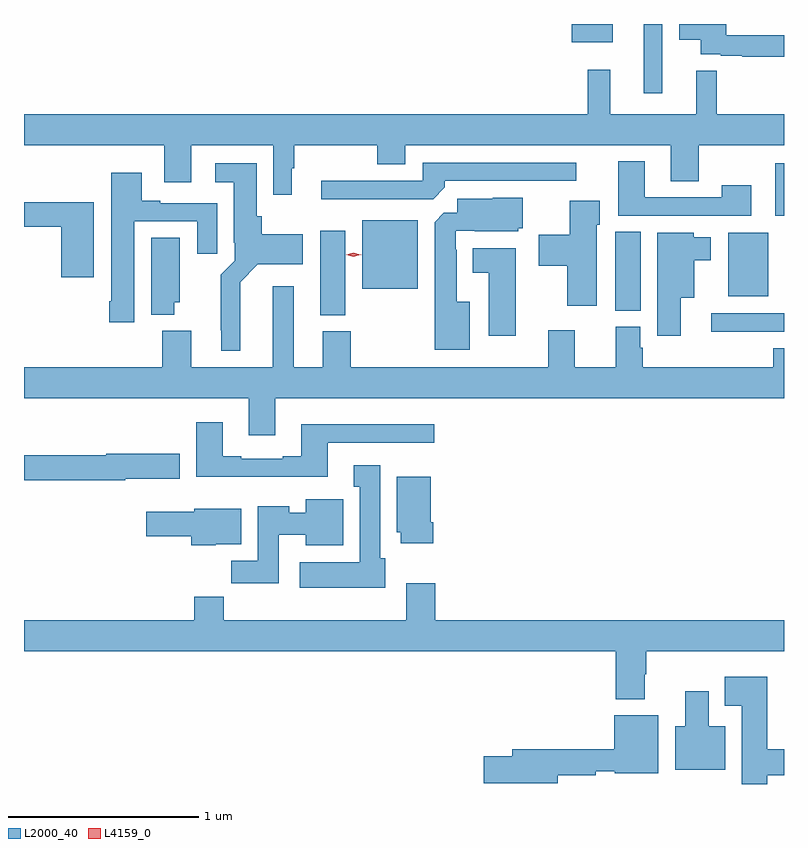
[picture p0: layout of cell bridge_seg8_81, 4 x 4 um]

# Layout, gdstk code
import gdstk
lib = gdstk.Library(unit=1e-6, precision=1e-09)
def R(c, l, rs):  # rectangles x0, y0, x1, y1
    for r in rs: c.add(gdstk.rectangle(r[:2], r[2:], *l))
def P(c, l, *ps):  # polygons
    for p in ps: c.add(gdstk.Polygon(p, *l))
L2000_40 = (2000, 40)
L4159_0 = (4159, 0)

bridge_seg8_81 = lib.new_cell('bridge_seg8_81')
R(bridge_seg8_81, L2000_40, [(700.887,1156.811,701.27,1156.908), (698.828,1156.897,698.962,1157.341), (700.382,1156.921,700.516,1157.336), (700.976,1156.997,701.188,1157.332), (699.05,1157.036,699.343,1157.398), (701.225,1157.42,701.27,1157.698), (700.532,1158.066,700.629,1158.43), (700.154,1158.335,700.369,1158.43)])
P(bridge_seg8_81, L2000_40, [(701.27,1158.371),(700.967,1158.371),(700.967,1158.43),(700.718,1158.43),(700.718,1158.347),(700.832,1158.347),(700.832,1158.27),(700.936,1158.27),(700.936,1158.264),(701.05,1158.264),(701.05,1158.258),(701.27,1158.258)],
  [(698.68,1157.67),(698.692,1157.67),(698.692,1157.792),(699.13,1157.792),(699.13,1157.693),(699.277,1157.693),(699.277,1157.792),(700.673,1157.792),(700.673,1157.602),(700.821,1157.602),(700.821,1157.792),(701.27,1157.792),(701.27,1157.956),(700.916,1157.956),(700.916,1158.185),(700.808,1158.185),(700.808,1157.956),(700.355,1157.956),(700.355,1158.19),(700.237,1158.19),(700.237,1157.956),(697.27,1157.956),(697.27,1157.792),(698.009,1157.792),(698.009,1157.598),(698.149,1157.598),(698.149,1157.792),(698.583,1157.792),(698.583,1157.532),(698.68,1157.532)],
  [(701.098,1157.581),(700.942,1157.581),(700.942,1157.517),(700.537,1157.517),(700.537,1157.707),(700.397,1157.707),(700.397,1157.421),(701.098,1157.421)],
  [(699.485,1157.57),(699.485,1157.604),(700.177,1157.604),(700.177,1157.7),(699.369,1157.7),(699.369,1157.604),(698.835,1157.604),(698.835,1157.508),(699.423,1157.508)],
  [(698.407,1157.072),(698.499,1157.165),(698.737,1157.165),(698.737,1157.323),(698.52,1157.323),(698.52,1157.418),(698.494,1157.418),(698.494,1157.698),(698.277,1157.698),(698.277,1157.597),(698.375,1157.597),(698.375,1157.278),(698.379,1157.278),(698.379,1157.184),(698.305,1157.11),(698.305,1156.819),(698.309,1156.819),(698.309,1156.709),(698.407,1156.709)],
  [(697.849,1157.391),(698.183,1157.391),(698.183,1157.22),(698.287,1157.22),(698.287,1157.487),(697.987,1157.487),(697.987,1157.5),(697.891,1157.5),(697.891,1157.647),(697.73,1157.647),(697.73,1156.972),(697.718,1156.972),(697.718,1156.86),(697.849,1156.86)],
  [(699.616,1156.969),(699.547,1156.969),(699.547,1157.243),(699.543,1157.243),(699.543,1157.343),(699.643,1157.343),(699.643,1157.339),(699.87,1157.339),(699.87,1157.355),(699.895,1157.355),(699.895,1157.515),(699.738,1157.515),(699.738,1157.509),(699.551,1157.509),(699.551,1157.436),(699.48,1157.436),(699.431,1157.387),(699.431,1156.715),(699.616,1156.715)],
  [(700.285,1157.373),(700.3,1157.373),(700.3,1157.5),(700.142,1157.5),(700.142,1157.32),(699.978,1157.32),(699.978,1157.158),(700.13,1157.158),(700.13,1156.947),(700.285,1156.947)],
  [(697.636,1157.491),(697.27,1157.491),(697.27,1157.362),(697.466,1157.362),(697.466,1157.097),(697.636,1157.097)],
  [(700.726,1156.988),(700.798,1156.988),(700.798,1157.186),(700.885,1157.186),(700.885,1157.308),(700.794,1157.308),(700.794,1157.332),(700.604,1157.332),(700.604,1156.788),(700.726,1156.788)],
  [(698.062,1156.965),(698.089,1156.965),(698.089,1157.306),(697.94,1157.306),(697.94,1156.901),(698.062,1156.901)],
  [(699.859,1157.251),(699.632,1157.251),(699.632,1157.12),(699.716,1157.12),(699.716,1156.788),(699.859,1156.788)],
  [(698.593,1156.46),(701.27,1156.46),(701.27,1156.723),(701.213,1156.723),(701.213,1156.624),(700.526,1156.624),(700.526,1156.725),(700.513,1156.725),(700.513,1156.836),(700.385,1156.836),(700.385,1156.624),(700.168,1156.624),(700.168,1156.819),(700.028,1156.819),(700.028,1156.624),(698.991,1156.624),(698.991,1156.812),(698.843,1156.812),(698.843,1156.624),(698.689,1156.624),(698.689,1157.05),(698.579,1157.05),(698.579,1156.624),(698.149,1156.624),(698.149,1156.816),(697.997,1156.816),(697.997,1156.624),(697.27,1156.624),(697.27,1156.46),(698.453,1156.46),(698.453,1156.266),(698.593,1156.266)],
  [(698.869,1156.227),(699.43,1156.227),(699.43,1156.324),(698.729,1156.324),(698.729,1156.156),(698.633,1156.156),(698.633,1156.143),(698.413,1156.143),(698.413,1156.156),(698.317,1156.156),(698.317,1156.333),(698.177,1156.333),(698.177,1156.046),(698.869,1156.046)],
  [(697.804,1156.037),(698.089,1156.037),(698.089,1156.167),(697.704,1156.167),(697.704,1156.159),(697.27,1156.159),(697.27,1156.03),(697.804,1156.03)],
  [(699.172,1155.618),(699.145,1155.618),(699.145,1156.108),(699.005,1156.108),(699.005,1155.995),(699.038,1155.995),(699.038,1155.598),(698.721,1155.598),(698.721,1155.464),(699.172,1155.464)],
  [(699.425,1155.808),(699.412,1155.808),(699.412,1156.048),(699.233,1156.048),(699.233,1155.756),(699.254,1155.756),(699.254,1155.696),(699.425,1155.696)],
  [(698.611,1155.742),(698.753,1155.742),(698.753,1155.686),(698.95,1155.686),(698.95,1155.928),(698.753,1155.928),(698.753,1155.857),(698.665,1155.857),(698.665,1155.892),(698.501,1155.892),(698.501,1155.604),(698.362,1155.604),(698.362,1155.486),(698.611,1155.486)],
  [(698.28,1155.692),(698.413,1155.692),(698.413,1155.88),(698.166,1155.88),(698.166,1155.862),(697.914,1155.862),(697.914,1155.733),(698.15,1155.733),(698.15,1155.686),(698.28,1155.686)],
  [(700.537,1155.008),(700.545,1155.008),(700.545,1155.128),(701.27,1155.128),(701.27,1155.292),(699.434,1155.292),(699.434,1155.487),(699.281,1155.487),(699.281,1155.292),(698.321,1155.292),(698.321,1155.416),(698.165,1155.416),(698.165,1155.292),(697.27,1155.292),(697.27,1155.128),(700.385,1155.128),(700.385,1154.876),(700.537,1154.876)],
  [(701.183,1154.476),(701.27,1154.476),(701.27,1154.612),(701.183,1154.612),(701.183,1154.995),(700.958,1154.995),(700.958,1154.843),(701.048,1154.843),(701.048,1154.43),(701.183,1154.43)],
  [(700.96,1154.734),(700.873,1154.734),(700.873,1154.917),(700.751,1154.917),(700.751,1154.734),(700.697,1154.734),(700.697,1154.504),(700.96,1154.504)],
  [(700.078,1154.476),(700.28,1154.476),(700.28,1154.496),(700.38,1154.496),(700.38,1154.486),(700.609,1154.486),(700.609,1154.791),(700.376,1154.791),(700.376,1154.612),(699.839,1154.612),(699.839,1154.576),(699.69,1154.576),(699.69,1154.434),(700.078,1154.434)])
P(bridge_seg8_81, L4159_0, [(699.004,1157.205),(698.965,1157.215),(698.964,1157.215),(698.965,1157.216),(699.004,1157.225),(699.043,1157.215),(699.044,1157.215),(699.043,1157.215)])

lib.write_gds('bridge_seg8_81.gds')
